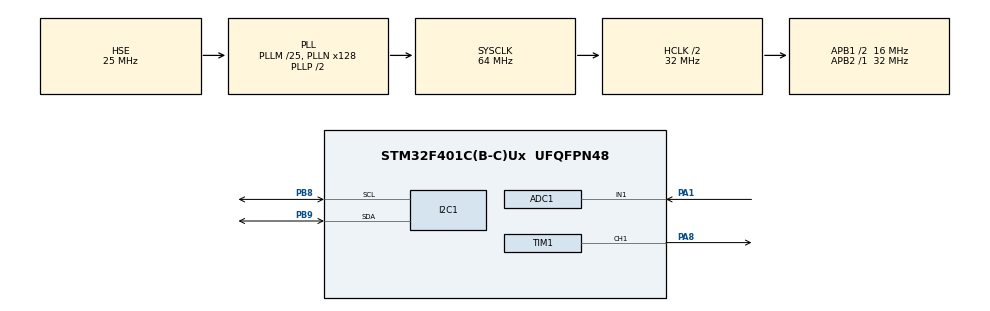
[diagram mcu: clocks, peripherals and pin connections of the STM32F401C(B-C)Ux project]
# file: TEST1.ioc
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ADC1.Channel-0\#ChannelRegularConversion=ADC_CHANNEL_1
ADC1.ContinuousConvMode=ENABLE
ADC1.NbrOfConversionFlag=1
ADC1.Rank-0\#ChannelRegularConversion=1
ADC1.Resolution=ADC_RESOLUTION_10B
ADC1.SamplingTime-0\#ChannelRegularConversion=ADC_SAMPLETIME_3CYCLES
ADC1.master=1
Mcu.Family=STM32F4
Mcu.Name=STM32F401C(B-C)Ux
Mcu.Package=UFQFPN48
NVIC.PriorityGroup=NVIC_PRIORITYGROUP_4
PA1.Signal=ADCx_IN1
PA13.Mode=Serial_Wire
PA13.Signal=SYS_JTMS-SWDIO
PA14.Mode=Serial_Wire
PA14.Signal=SYS_JTCK-SWCLK
PA8.Signal=S_TIM1_CH1
PB8.Mode=I2C
PB8.Signal=I2C1_SCL
PB9.Mode=I2C
PB9.Signal=I2C1_SDA
PH0\ -\ OSC_IN.Mode=HSE-External-Oscillator
PH0\ -\ OSC_IN.Signal=RCC_OSC_IN
PH1\ -\ OSC_OUT.Mode=HSE-External-Oscillator
PH1\ -\ OSC_OUT.Signal=RCC_OSC_OUT
ProjectManager.HeapSize=0x200
ProjectManager.StackSize=0x400
ProjectManager.TargetToolchain=STM32CubeIDE
RCC.48MHZClocksFreq_Value=32000000
RCC.AHBCLKDivider=RCC_SYSCLK_DIV2
RCC.AHBFreq_Value=32000000
RCC.APB1CLKDivider=RCC_HCLK_DIV2
RCC.APB1Freq_Value=16000000
RCC.APB1TimFreq_Value=32000000
RCC.APB2Freq_Value=32000000
RCC.APB2TimFreq_Value=32000000
RCC.CortexFreq_Value=32000000
RCC.HCLKFreq_Value=32000000
RCC.HSE_VALUE=25000000
RCC.HSI_VALUE=16000000
RCC.LSE_VALUE=32768
RCC.PLLM=25
RCC.PLLN=128
RCC.PLLSourceVirtual=RCC_PLLSOURCE_HSE
RCC.SYSCLKFreq_VALUE=64000000
RCC.SYSCLKSource=RCC_SYSCLKSOURCE_PLLCLK
RCC.VCOOutputFreq_Value=128000000
SH.ADCx_IN1.0=ADC1_IN1,IN1
SH.S_TIM1_CH1.0=TIM1_CH1,PWM Generation1 CH1
TIM1.Channel-PWM\ Generation1\ CH1=TIM_CHANNEL_1
TIM1.Period=1000-1
TIM1.Prescaler=32-1
VP_TIM1_VS_ClockSourceINT.Mode=Internal
board=custom

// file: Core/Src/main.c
/* USER CODE BEGIN Header */
/**
  ******************************************************************************
  * @file           : main.c
  * @brief          : Main program body
  ******************************************************************************
  * @attention
  *
  * Copyright (c) 2022 STMicroelectronics.
  * All rights reserved.
  *
  * This software is licensed under terms that can be found in the LICENSE file
  * in the root directory of this software component.
  * If no LICENSE file comes with this software, it is provided AS-IS.
  *
  ******************************************************************************
  */
/* USER CODE END Header */
#include "main.h"
#include "adc.h"
#include "i2c.h"
#include "tim.h"
#include "gpio.h"

/* USER CODE BEGIN Includes */
#include "liquidcrystal_i2c.h"
/* USER CODE END Includes */

/* USER CODE BEGIN PV */
uint16_t adcValue = 0;
uint8_t scan = RESET;
uint16_t duty = 0;
char strAdcValue[4] = {0};
int oldLen = 0;
/* USER CODE END PV */

void SystemClock_Config(void);

/* USER CODE BEGIN 0 */
void HAL_IncTick(void)
{
	uwTick += uwTickFreq;

	if (uwTick % 100 == 0) {
		scan = SET;
	}
}
/* USER CODE END 0 */

int main(void)
{

  /* MCU Configuration--------------------------------------------------------*/

  /* Reset of all peripherals, Initializes the Flash interface and the Systick. */
  HAL_Init();

  /* Configure the system clock */
  SystemClock_Config();

  /* Initialize all configured peripherals */
  MX_GPIO_Init();
  MX_ADC1_Init();
  MX_I2C1_Init();
  MX_TIM1_Init();
  /* USER CODE BEGIN 2 */
  HAL_TIM_PWM_Start(&htim1, TIM_CHANNEL_1);
  LCD_Init();

  LCD_SetCursor(0, 0);
  /* USER CODE END 2 */

  /* Infinite loop */
  /* USER CODE BEGIN WHILE */
  while (1)
  {
	  if (scan) {
		  scan = RESET;
		  HAL_ADC_Start(&hadc1);
		  HAL_ADC_PollForConversion(&hadc1, 10);
		  adcValue = HAL_ADC_GetValue(&hadc1);
		  itoa(adcValue, strAdcValue, 10);
		  if (oldLen != strlen(strAdcValue)) LCD_Clear();
		  LCD_Puts(0, 0, strAdcValue);

		  duty = (uint16_t)999 * adcValue / 1023;
		  TIM1->CCR1 = duty;
	  }

	  oldLen = strlen(strAdcValue);
	  __NOP();
    /* USER CODE END WHILE */

  }
}

void SystemClock_Config(void)
{
  RCC_OscInitTypeDef RCC_OscInitStruct = {0};
  RCC_ClkInitTypeDef RCC_ClkInitStruct = {0};

  /** Configure the main internal regulator output voltage
  */
  __HAL_RCC_PWR_CLK_ENABLE();
  __HAL_PWR_VOLTAGESCALING_CONFIG(PWR_REGULATOR_VOLTAGE_SCALE2);
  /** Initializes the RCC Oscillators according to the specified parameters
  * in the RCC_OscInitTypeDef structure.
  */
  RCC_OscInitStruct.OscillatorType = RCC_OSCILLATORTYPE_HSE;
  RCC_OscInitStruct.HSEState = RCC_HSE_ON;
  RCC_OscInitStruct.PLL.PLLState = RCC_PLL_ON;
  RCC_OscInitStruct.PLL.PLLSource = RCC_PLLSOURCE_HSE;
  RCC_OscInitStruct.PLL.PLLM = 25;
  RCC_OscInitStruct.PLL.PLLN = 128;
  RCC_OscInitStruct.PLL.PLLP = RCC_PLLP_DIV2;
  RCC_OscInitStruct.PLL.PLLQ = 4;
  if (HAL_RCC_OscConfig(&RCC_OscInitStruct) != HAL_OK)
  {
    Error_Handler();
  }
  /** Initializes the CPU, AHB and APB buses clocks
  */
  RCC_ClkInitStruct.ClockType = RCC_CLOCKTYPE_HCLK|RCC_CLOCKTYPE_SYSCLK
                              |RCC_CLOCKTYPE_PCLK1|RCC_CLOCKTYPE_PCLK2;
  RCC_ClkInitStruct.SYSCLKSource = RCC_SYSCLKSOURCE_PLLCLK;
  RCC_ClkInitStruct.AHBCLKDivider = RCC_SYSCLK_DIV2;
  RCC_ClkInitStruct.APB1CLKDivider = RCC_HCLK_DIV2;
  RCC_ClkInitStruct.APB2CLKDivider = RCC_HCLK_DIV1;

  if (HAL_RCC_ClockConfig(&RCC_ClkInitStruct, FLASH_LATENCY_1) != HAL_OK)
  {
    Error_Handler();
  }
}

void Error_Handler(void)
{
  __disable_irq();
  while (1)
  {
  }
}
